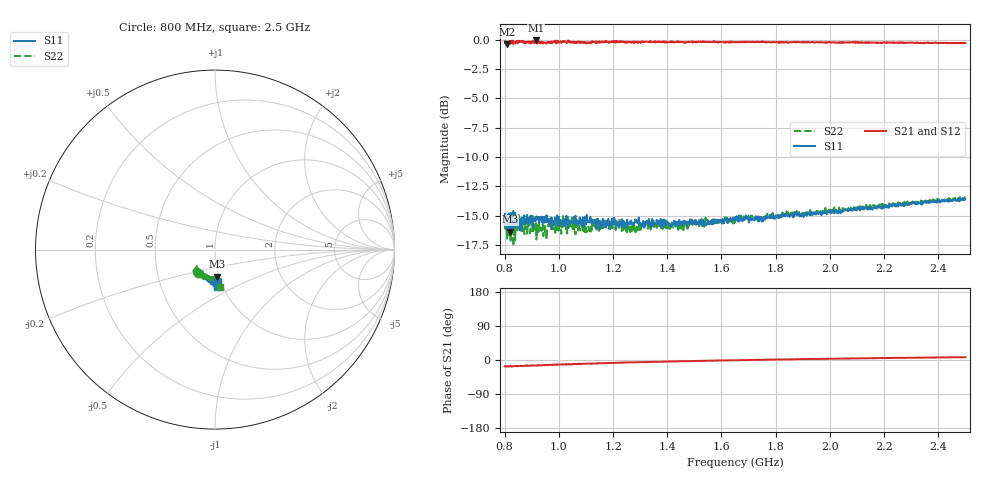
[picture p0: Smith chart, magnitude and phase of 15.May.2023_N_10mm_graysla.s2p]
!Keysight Technologies N9950B: A.12.38
!Date: Monday, 15 May 2023 14:40:18
!Timezone: (UTC-06:00) Central Time (US & Canada)
!Model: N9950B
!Serial: MY61131330
!GPS Latitude:
!GPS Longitude:
!GPS TimeStamp: 0001-01-01 00:00:00Z
!GPS Seconds Since Last Read: 0
!CHECKSUM:2111425208
!Correction: S11(ON U)S21(ON U)S12(ON U)S22(ON U)
!S2P File: Measurements:S11,S21,S12,S22:
# Hz S DB R 50
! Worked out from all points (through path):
!   1001 points, 800 MHz to 2.5 GHz, reference 50 ohm
!   highest |S21| = -0.06 dB at 915.6 MHz (marker M1); lowest = -0.4 dB at 808.5 MHz (marker M2)
!   lowest |S11| = -16.4 dB at 820.4 MHz (marker M3), VSWR 1.36, Z = 49 - j15.2 ohm
!   |S11| at or under -10 dB: start of sweep to end of sweep
!   |S22| runs from -17.6 to -13.4 dB; largest |S21 - S12| = 0.011
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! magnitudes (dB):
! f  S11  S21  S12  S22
! 800 MHz  -15.1  -0.1  -0.1  -15.7
! 808.5 MHz  -15.1  -0.4  -0.4  -17.0
! 820.4 MHz  -16.4  -0.1  -0.2  -15.8
! 840.8 MHz  -15.8  -0.2  -0.2  -15.8
! 849.3 MHz  -15.6  -0.2  -0.2  -15.6
! 861.2 MHz  -15.6  -0.1  -0.1  -15.7
! 874.8 MHz  -15.8  -0.2  -0.2  -15.9
! 915.6 MHz  -15.4  -0.1  -0.1  -15.6
! 951.3 MHz  -15.1  -0.3  -0.2  -16.3
! 976.8 MHz  -15.5  -0.2  -0.2  -15.9
! 1.084 GHz  -15.8  -0.2  -0.2  -15.9
! 1.165 GHz  -15.4  -0.2  -0.2  -16.0
! 1.222 GHz  -16.0  -0.1  -0.1  -15.6
! 1.261 GHz  -15.6  -0.2  -0.2  -16.0
! 1.317 GHz  -16.0  -0.2  -0.2  -15.8
! 1.368 GHz  -15.6  -0.2  -0.2  -15.8
! 1.451 GHz  -15.7  -0.2  -0.2  -15.7
! 1.538 GHz  -15.7  -0.1  -0.2  -15.5
! 1.65 GHz  -15.4  -0.2  -0.2  -15.2
! 1.934 GHz  -14.8  -0.2  -0.2  -14.8
! 2.218 GHz  -14.3  -0.2  -0.2  -14.0
! 2.5 GHz  -13.5  -0.3  -0.3  -13.6
